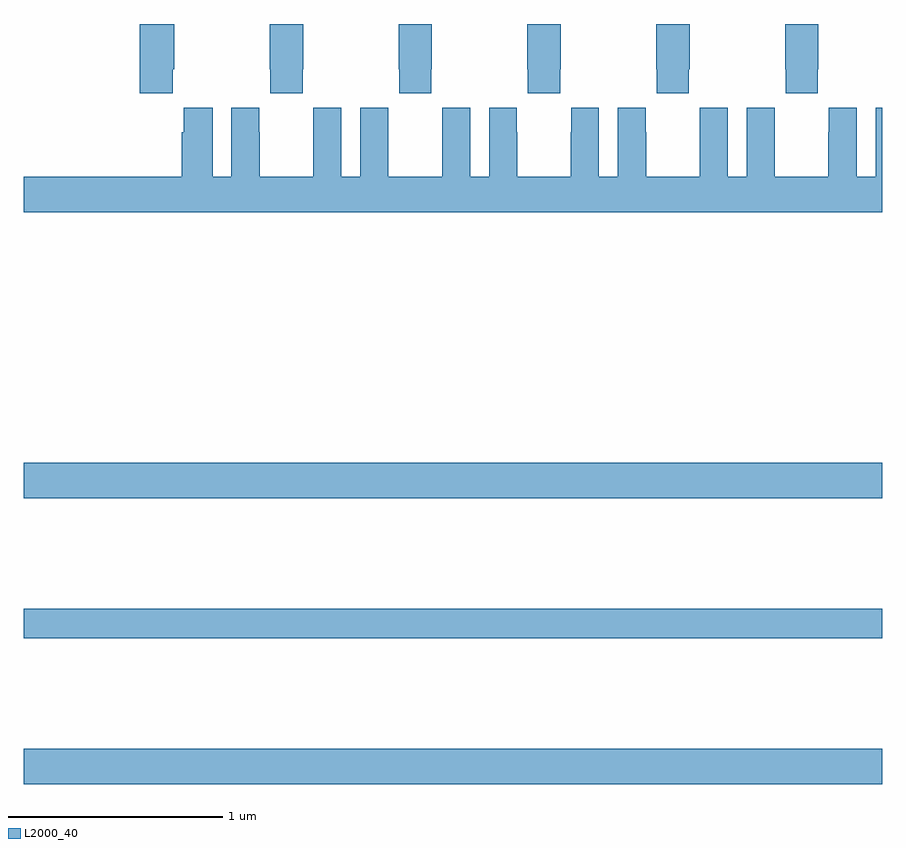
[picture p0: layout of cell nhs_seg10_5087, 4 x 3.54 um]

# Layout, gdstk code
import gdstk
lib = gdstk.Library(unit=1e-6, precision=1e-09)
def R(c, l, rs):  # rectangles x0, y0, x1, y1
    for r in rs: c.add(gdstk.rectangle(r[:2], r[2:], *l))
def P(c, l, *ps):  # polygons
    for p in ps: c.add(gdstk.Polygon(p, *l))
L2000_40 = (2000, 40)

nhs_seg10_5087 = lib.new_cell('nhs_seg10_5087')
R(nhs_seg10_5087, L2000_40, [(405,1322.96,409,1323.124), (405,1323.64,409,1323.776), (405,1324.292,409,1324.456)])
P(nhs_seg10_5087, L2000_40, [(408.699,1326.289),(408.702,1326.289),(408.702,1326.5),(408.547,1326.5),(408.547,1326.289),(408.549,1326.289),(408.549,1326.177),(408.699,1326.177)],
  [(408.099,1326.289),(408.102,1326.289),(408.102,1326.5),(407.947,1326.5),(407.947,1326.289),(407.949,1326.289),(407.949,1326.177),(408.099,1326.177)],
  [(407.499,1326.289),(407.502,1326.289),(407.502,1326.5),(407.347,1326.5),(407.347,1326.289),(407.349,1326.289),(407.349,1326.177),(407.499,1326.177)],
  [(406.899,1326.289),(406.902,1326.289),(406.902,1326.5),(406.747,1326.5),(406.747,1326.289),(406.749,1326.289),(406.749,1326.177),(406.899,1326.177)],
  [(406.299,1326.289),(406.302,1326.289),(406.302,1326.5),(406.147,1326.5),(406.147,1326.289),(406.149,1326.289),(406.149,1326.177),(406.299,1326.177)],
  [(405.695,1326.289),(405.702,1326.289),(405.702,1326.5),(405.542,1326.5),(405.542,1326.177),(405.695,1326.177)],
  [(409,1326.109),(408.968,1326.109),(408.968,1325.788),(408.88,1325.788),(408.88,1326.109),(408.75,1326.109),(408.75,1325.996),(408.749,1325.996),(408.749,1325.788),(408.499,1325.788),(408.499,1325.996),(408.498,1325.996),(408.498,1326.109),(408.368,1326.109),(408.368,1325.788),(408.28,1325.788),(408.28,1326.109),(408.15,1326.109),(408.15,1325.996),(408.149,1325.996),(408.149,1325.788),(407.899,1325.788),(407.899,1325.996),(407.898,1325.996),(407.898,1326.109),(407.768,1326.109),(407.768,1325.788),(407.68,1325.788),(407.68,1326.109),(407.55,1326.109),(407.55,1325.996),(407.549,1325.996),(407.549,1325.788),(407.299,1325.788),(407.299,1325.996),(407.298,1325.996),(407.298,1326.109),(407.168,1326.109),(407.168,1325.788),(407.08,1325.788),(407.08,1326.109),(406.95,1326.109),(406.95,1325.996),(406.949,1325.996),(406.949,1325.788),(406.699,1325.788),(406.699,1325.996),(406.698,1325.996),(406.698,1326.109),(406.568,1326.109),(406.568,1325.788),(406.48,1325.788),(406.48,1326.109),(406.35,1326.109),(406.35,1325.996),(406.349,1325.996),(406.349,1325.788),(406.099,1325.788),(406.099,1325.996),(406.098,1325.996),(406.098,1326.109),(405.968,1326.109),(405.968,1325.788),(405.88,1325.788),(405.88,1326.109),(405.746,1326.109),(405.746,1325.996),(405.737,1325.996),(405.737,1325.788),(405,1325.788),(405,1325.624),(409,1325.624)])

lib.write_gds('nhs_seg10_5087.gds')
